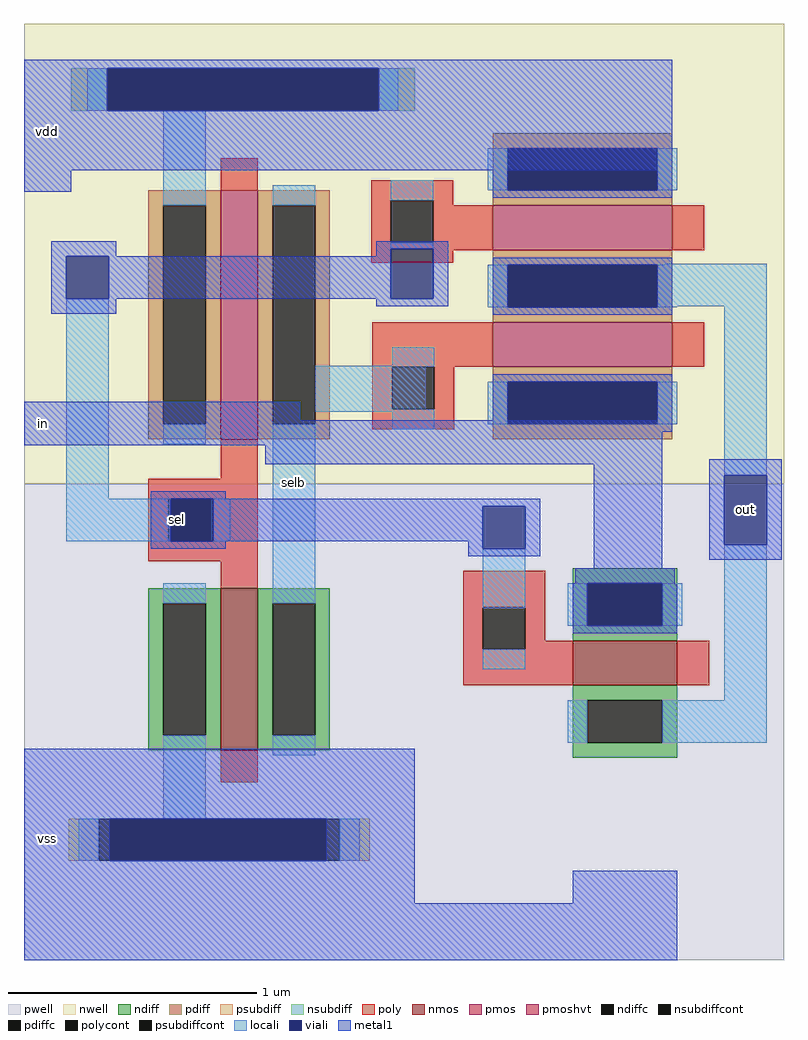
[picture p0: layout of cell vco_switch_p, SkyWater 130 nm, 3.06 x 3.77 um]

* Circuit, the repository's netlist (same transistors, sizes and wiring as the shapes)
* NGSPICE file created from vco_switch_p.ext - technology: sky130A

.subckt sky130_fd_pr__pfet_01v8_5YXW2B a_18_n72# w_n112_n134# a_n18_n98# a_n76_n72#
X0 a_18_n72# a_n18_n98# a_n76_n72# w_n112_n134# sky130_fd_pr__pfet_01v8 ad=2.088e+11p pd=2.02e+06u as=2.088e+11p ps=2.02e+06u w=720000u l=180000u
.ends

.subckt sky130_fd_pr__pfet_01v8_hvt_N83GLL a_n73_n100# a_15_n100# w_n109_n136# a_n15_n132#
X0 a_15_n100# a_n15_n132# a_n73_n100# w_n109_n136# sky130_fd_pr__pfet_01v8_hvt ad=2.9e+11p pd=2.58e+06u as=2.9e+11p ps=2.58e+06u w=1e+06u l=150000u
.ends

.subckt sky130_fd_pr__nfet_01v8_M34CP3 a_15_n96# a_n73_56# a_n73_n96# VSUBS
X0 a_15_n96# a_n73_56# a_n73_n96# VSUBS sky130_fd_pr__nfet_01v8 ad=1.885e+11p pd=1.88e+06u as=1.885e+11p ps=1.88e+06u w=650000u l=150000u
.ends

.subckt sky130_fd_pr__pfet_01v8_ACAZ2B_v2 w_n112_n170# a_n68_67# a_n76_n108# a_18_n108#
X0 a_18_n108# a_n68_67# a_n76_n108# w_n112_n170# sky130_fd_pr__pfet_01v8 ad=2.088e+11p pd=2.02e+06u as=2.088e+11p ps=2.02e+06u w=720000u l=180000u
.ends

.subckt sky130_fd_pr__nfet_01v8_HGTGXE_v2 a_18_n73# a_n18_n99# a_n76_n73# VSUBS
X0 a_18_n73# a_n18_n99# a_n76_n73# VSUBS sky130_fd_pr__nfet_01v8 ad=1.218e+11p pd=1.42e+06u as=1.218e+11p ps=1.42e+06u w=420000u l=180000u
.ends

.subckt vco_switch_p in sel out vss vdd
Xsky130_fd_pr__pfet_01v8_5YXW2B_0 vdd vdd sel out sky130_fd_pr__pfet_01v8_5YXW2B
Xsky130_fd_pr__pfet_01v8_hvt_N83GLL_0 vdd li_610_903# vdd sel sky130_fd_pr__pfet_01v8_hvt_N83GLL
Xsky130_fd_pr__nfet_01v8_M34CP3_0 li_610_903# sel vss vss sky130_fd_pr__nfet_01v8_M34CP3
Xsky130_fd_pr__pfet_01v8_ACAZ2B_v2_0 vdd li_610_903# in out sky130_fd_pr__pfet_01v8_ACAZ2B_v2
Xsky130_fd_pr__nfet_01v8_HGTGXE_v2_0 in sel out vss sky130_fd_pr__nfet_01v8_HGTGXE_v2
.ends

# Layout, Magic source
magic
tech sky130A
magscale 1 2
<< nwell >>
rect 376 952 987 1215
rect 376 845 932 952
rect 934 845 987 952
<< pwell >>
rect 376 462 987 845
<< psubdiff >>
rect 412 542 436 576
rect 630 542 654 576
<< nsubdiff >>
rect 414 1145 443 1179
rect 661 1145 690 1179
<< psubdiffcont >>
rect 436 542 630 576
<< nsubdiffcont >>
rect 443 1145 661 1179
<< poly >>
rect 655 1073 721 1089
rect 655 1039 671 1073
rect 705 1069 721 1073
rect 705 1039 727 1069
rect 655 1033 727 1039
rect 655 1023 721 1033
<< polycont >>
rect 671 1039 705 1073
<< locali >>
rect 427 1145 443 1179
rect 661 1145 677 1179
rect 488 1085 522 1145
rect 671 1073 705 1089
rect 671 1034 705 1039
rect 410 833 444 994
rect 891 988 973 1022
rect 610 903 699 940
rect 410 799 494 833
rect 576 765 610 877
rect 939 852 973 988
rect 745 745 779 793
rect 939 671 973 796
rect 899 637 973 671
rect 488 576 522 627
rect 420 542 436 576
rect 630 542 646 576
<< viali >>
rect 443 1145 661 1179
rect 410 994 444 1028
rect 671 994 705 1034
rect 494 799 528 833
rect 745 793 779 827
rect 939 796 973 852
rect 829 731 889 765
rect 445 542 619 576
<< metal1 >>
rect 376 1179 897 1186
rect 376 1145 443 1179
rect 661 1145 897 1179
rect 376 1097 897 1145
rect 376 1080 414 1097
rect 398 1028 450 1040
rect 659 1034 717 1040
rect 659 1028 671 1034
rect 398 994 410 1028
rect 444 994 671 1028
rect 705 994 717 1034
rect 398 982 450 994
rect 659 988 717 994
rect 376 896 598 911
rect 376 876 889 896
rect 570 861 889 876
rect 478 833 538 839
rect 478 799 494 833
rect 528 827 791 833
rect 528 799 745 827
rect 478 793 538 799
rect 733 793 745 799
rect 779 793 791 827
rect 733 787 791 793
rect 834 777 889 861
rect 927 852 985 865
rect 927 796 939 852
rect 973 796 985 852
rect 927 784 985 796
rect 819 765 899 777
rect 817 731 829 765
rect 889 764 899 765
rect 889 731 901 764
rect 817 725 901 731
rect 376 576 690 632
rect 376 542 445 576
rect 619 542 690 576
rect 376 508 690 542
rect 817 508 901 534
rect 376 462 901 508
use sky130_fd_pr__nfet_01v8_HGTGXE_v2  sky130_fd_pr__nfet_01v8_HGTGXE_v2_0
transform 0 -1 828 1 0 701
box -76 -99 76 99
use sky130_fd_pr__nfet_01v8_M34CP3  sky130_fd_pr__nfet_01v8_M34CP3_0
transform 1 0 549 0 1 727
box -73 -122 73 122
use sky130_fd_pr__pfet_01v8_5YXW2B  sky130_fd_pr__pfet_01v8_5YXW2B_0
transform 0 -1 825 1 0 1051
box -112 -134 112 134
use sky130_fd_pr__pfet_01v8_ACAZ2B_v2  sky130_fd_pr__pfet_01v8_ACAZ2B_v2_0
transform 0 -1 789 1 0 957
box -112 -170 112 136
use sky130_fd_pr__pfet_01v8_hvt_N83GLL  sky130_fd_pr__pfet_01v8_hvt_N83GLL_0
transform 1 0 549 0 1 981
box -109 -136 109 162
<< labels >>
rlabel metal1 376 876 407 911 1 in
port 0 n
rlabel metal1 376 488 414 632 1 vss
port 3 n
rlabel nwell 376 1080 414 1176 1 vdd
port 4 n
rlabel metal1 927 784 985 865 1 out
port 2 n
rlabel metal1 478 793 520 839 1 sel
port 1 n
rlabel locali 578 834 608 858 1 selb
<< end >>

# cell sky130_fd_pr__nfet_01v8_HGTGXE_v2: kit device sky130_fd_pr__nfet_01v8, w 0.42 l 0.18 m 1 nf 1 diffcov 100 polycov 100 guard 0 glc 0 grc 0 gtc 0 gbc 0 tbcov 100 rlcov 100 topc 1 botc 0 poverlap 0 doverlap 1 lmin 0.15 wmin 0.42 compatible {sky130_fd_pr__nfet_01v8 sky130_fd_pr__nfet_01v8_lvt sky130_fd_bs_flash__special_sonosfet_star sky130_fd_pr__nfet_g5v0d10v5 sky130_fd_pr__nfet_05v0_nvt sky130_fd_pr__nfet_03v3_nvt} full_metal 0 viasrc 100 viadrn 100 viagate 100 viagb 0 viagr 0 viagl 0 viagt 0

# cell sky130_fd_pr__nfet_01v8_M34CP3: kit device sky130_fd_pr__nfet_01v8, w 0.650 l 0.150 m 1 nf 1 diffcov 100 polycov 100 guard 0 glc 0 grc 0 gtc 0 gbc 0 tbcov 100 rlcov 100 topc 1 botc 0 poverlap 0 doverlap 1 lmin 0.15 wmin 0.42 compatible {sky130_fd_pr__nfet_01v8 sky130_fd_pr__nfet_01v8_lvt sky130_fd_bs_flash__special_sonosfet_star sky130_fd_pr__nfet_g5v0d10v5 sky130_fd_pr__nfet_05v0_nvt sky130_fd_pr__nfet_03v3_nvt} full_metal 0 viasrc 0 viadrn 0 viagate 0 viagb 0 viagr 0 viagl 0 viagt 0

# cell sky130_fd_pr__pfet_01v8_5YXW2B: kit device sky130_fd_pr__pfet_01v8, w 0.72 l 0.18 m 1 nf 1 diffcov 100 polycov 100 guard 0 glc 0 grc 0 gtc 0 gbc 0 tbcov 100 rlcov 100 topc 0 botc 0 poverlap 0 doverlap 1 lmin 0.15 wmin 0.42 compatible {sky130_fd_pr__pfet_01v8 sky130_fd_pr__pfet_01v8_lvt sky130_fd_pr__pfet_01v8_hvt sky130_fd_pr__pfet_g5v0d10v5} full_metal 0 viasrc 100 viadrn 100 viagate 100 viagb 0 viagr 0 viagl 0 viagt 0

# cell sky130_fd_pr__pfet_01v8_ACAZ2B_v2: kit device sky130_fd_pr__pfet_01v8, w 0.72 l 0.18 m 1 nf 1 diffcov 100 polycov 100 guard 0 glc 0 grc 0 gtc 0 gbc 0 tbcov 100 rlcov 100 topc 1 botc 0 poverlap 0 doverlap 1 lmin 0.15 wmin 0.42 compatible {sky130_fd_pr__pfet_01v8 sky130_fd_pr__pfet_01v8_lvt sky130_fd_pr__pfet_01v8_hvt sky130_fd_pr__pfet_g5v0d10v5} full_metal 0 viasrc 100 viadrn 100 viagate 100 viagb 0 viagr 0 viagl 0 viagt 0

# cell sky130_fd_pr__pfet_01v8_hvt_N83GLL: kit device sky130_fd_pr__pfet_01v8_hvt, w 1 l 0.15 m 1 nf 1 diffcov 100 polycov 100 guard 0 glc 0 grc 0 gtc 0 gbc 0 tbcov 100 rlcov 100 topc 0 botc 0 poverlap 0 doverlap 1 lmin 0.15 wmin 0.42 compatible {sky130_fd_pr__pfet_01v8 sky130_fd_pr__pfet_01v8_lvt sky130_fd_pr__pfet_01v8_hvt sky130_fd_pr__pfet_g5v0d10v5} full_metal 0 viasrc 0 viadrn 0 viagate 0 viagb 0 viagr 0 viagl 0 viagt 0
